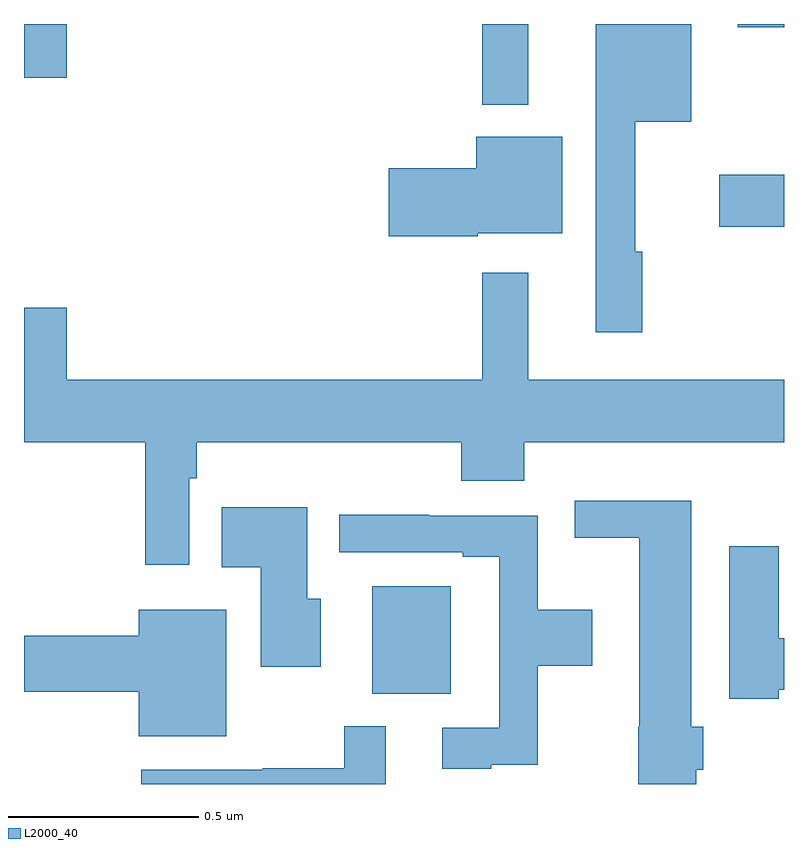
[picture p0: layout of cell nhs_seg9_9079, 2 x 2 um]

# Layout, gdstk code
import gdstk
lib = gdstk.Library(unit=1e-6, precision=1e-09)
def R(c, l, rs):  # rectangles x0, y0, x1, y1
    for r in rs: c.add(gdstk.rectangle(r[:2], r[2:], *l))
def P(c, l, *ps):  # polygons
    for p in ps: c.add(gdstk.Polygon(p, *l))
L2000_40 = (2000, 40)

nhs_seg9_9079 = lib.new_cell('nhs_seg9_9079')
R(nhs_seg9_9079, L2000_40, [(225.917,1215.737,226.123,1216.021), (226.83,1216.966,227,1217.103), (226.206,1217.288,226.327,1217.5), (225,1217.358,225.112,1217.5), (226.878,1217.491,227,1217.5)])
P(nhs_seg9_9079, L2000_40, [(226.627,1216.901),(226.609,1216.901),(226.609,1217.243),(226.756,1217.243),(226.756,1217.5),(226.505,1217.5),(226.505,1216.689),(226.627,1216.689)],
  [(226.194,1216.949),(226.417,1216.949),(226.417,1217.203),(226.19,1217.203),(226.19,1217.12),(225.96,1217.12),(225.96,1216.942),(226.194,1216.942)],
  [(225.435,1216.304),(225.455,1216.304),(225.455,1216.4),(226.151,1216.4),(226.151,1216.298),(226.316,1216.298),(226.316,1216.4),(227,1216.4),(227,1216.564),(226.327,1216.564),(226.327,1216.846),(226.206,1216.846),(226.206,1216.564),(225.112,1216.564),(225.112,1216.753),(225,1216.753),(225,1216.4),(225.319,1216.4),(225.319,1216.077),(225.435,1216.077)],
  [(226.769,1215.537),(226.787,1215.537),(226.787,1215.651),(226.756,1215.651),(226.756,1216.246),(226.449,1216.246),(226.449,1216.148),(226.619,1216.148),(226.619,1215.651),(226.616,1215.651),(226.616,1215.5),(226.769,1215.5)],
  [(225.781,1215.987),(225.745,1215.987),(225.745,1216.228),(225.52,1216.228),(225.52,1216.07),(225.623,1216.07),(225.623,1215.809),(225.781,1215.809)],
  [(226.229,1215.551),(226.352,1215.551),(226.352,1215.811),(226.495,1215.811),(226.495,1215.958),(226.352,1215.958),(226.352,1216.206),(226.067,1216.206),(226.067,1216.208),(225.83,1216.208),(225.83,1216.11),(226.154,1216.11),(226.154,1216.098),(226.251,1216.098),(226.251,1215.648),(226.101,1215.648),(226.101,1215.54),(226.229,1215.54)],
  [(226.986,1215.748),(227,1215.748),(227,1215.884),(226.986,1215.884),(226.986,1216.126),(226.856,1216.126),(226.856,1215.725),(226.986,1215.725)],
  [(225.532,1215.958),(225.302,1215.958),(225.302,1215.89),(225,1215.89),(225,1215.743),(225.302,1215.743),(225.302,1215.626),(225.532,1215.626)],
  [(225.952,1215.652),(225.843,1215.652),(225.843,1215.542),(225.628,1215.542),(225.628,1215.537),(225.309,1215.537),(225.309,1215.5),(225.952,1215.5)])

lib.write_gds('nhs_seg9_9079.gds')
